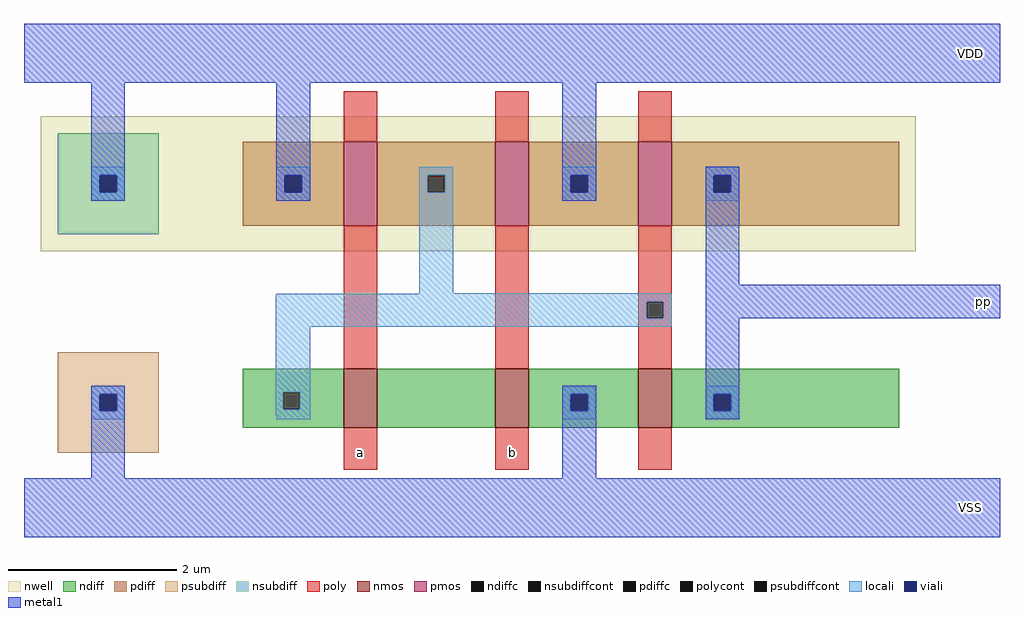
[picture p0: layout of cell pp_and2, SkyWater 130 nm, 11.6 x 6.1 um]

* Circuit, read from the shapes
.subckt pp_and2 VDD VSS a b pp
XM1 n1 a n2 VSS sky130_fd_pr__nfet_01v8 w=0.7 l=0.4
XM2 VSS b n1 VSS sky130_fd_pr__nfet_01v8 w=0.7 l=0.4
XM3 pp n2 VSS VSS sky130_fd_pr__nfet_01v8 w=0.7 l=0.4
XM4 n2 a VDD VDD sky130_fd_pr__pfet_01v8 w=1 l=0.4
XM5 VDD b n2 VDD sky130_fd_pr__pfet_01v8 w=1 l=0.4
XM6 pp n2 VDD VDD sky130_fd_pr__pfet_01v8 w=1 l=0.4
.ends

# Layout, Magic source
magic
tech sky130A
<< nwell >>
rect -280 30 760 190
<< nmos >>
rect 80 -180 120 -110
rect 260 -180 300 -110
rect 430 -180 470 -110
<< pmos >>
rect 80 60 120 160
rect 260 60 300 160
rect 430 60 470 160
<< ndiff >>
rect -40 -138 80 -110
rect -40 -158 8 -138
rect 28 -158 80 -138
rect -40 -180 80 -158
rect 120 -180 260 -110
rect 300 -140 430 -110
rect 300 -160 350 -140
rect 370 -160 430 -140
rect 300 -180 430 -160
rect 470 -140 740 -110
rect 470 -160 520 -140
rect 540 -160 740 -140
rect 470 -180 740 -160
<< pdiff >>
rect -40 120 80 160
rect -40 100 10 120
rect 30 100 80 120
rect -40 60 80 100
rect 120 120 260 160
rect 120 100 180 120
rect 200 100 260 120
rect 120 60 260 100
rect 300 120 430 160
rect 300 100 350 120
rect 370 100 430 120
rect 300 60 430 100
rect 470 120 740 160
rect 470 100 520 120
rect 540 100 740 120
rect 470 60 740 100
<< ndiffc >>
rect 8 -158 28 -138
rect 350 -160 370 -140
rect 520 -160 540 -140
<< pdiffc >>
rect 10 100 30 120
rect 180 100 200 120
rect 350 100 370 120
rect 520 100 540 120
<< psubdiff >>
rect -260 -140 -140 -90
rect -260 -160 -210 -140
rect -190 -160 -140 -140
rect -260 -210 -140 -160
<< nsubdiff >>
rect -260 120 -140 170
rect -260 100 -210 120
rect -190 100 -140 120
rect -260 50 -140 100
<< psubdiffcont >>
rect -210 -160 -190 -140
<< nsubdiffcont >>
rect -210 100 -190 120
<< poly >>
rect 80 160 120 220
rect 260 160 300 220
rect 430 160 470 220
rect 80 -110 120 60
rect 260 -110 300 60
rect 430 -30 470 60
rect 430 -50 440 -30
rect 460 -50 470 -30
rect 430 -110 470 -50
rect 80 -230 120 -180
rect 260 -230 300 -180
rect 430 -230 470 -180
<< polycont >>
rect 440 -50 460 -30
<< locali >>
rect -220 120 -180 130
rect -220 100 -210 120
rect -190 100 -180 120
rect -220 90 -180 100
rect 0 120 40 130
rect 0 100 10 120
rect 30 100 40 120
rect 0 90 40 100
rect 170 120 210 130
rect 170 100 180 120
rect 200 100 210 120
rect 170 -20 210 100
rect 340 120 380 130
rect 340 100 350 120
rect 370 100 380 120
rect 340 90 380 100
rect 510 120 550 130
rect 510 100 520 120
rect 540 100 550 120
rect 510 90 550 100
rect 170 -21 470 -20
rect 0 -22 470 -21
rect -1 -30 470 -22
rect -1 -50 440 -30
rect 460 -50 470 -30
rect -1 -60 470 -50
rect -220 -140 -180 -130
rect -220 -160 -210 -140
rect -190 -160 -180 -140
rect -220 -170 -180 -160
rect -1 -138 40 -60
rect -1 -158 8 -138
rect 28 -158 40 -138
rect -1 -165 40 -158
rect 0 -170 40 -165
rect 340 -140 380 -130
rect 340 -160 350 -140
rect 370 -160 380 -140
rect 340 -170 380 -160
rect 510 -140 550 -130
rect 510 -160 520 -140
rect 540 -160 550 -140
rect 510 -170 550 -160
<< viali >>
rect -210 100 -190 120
rect 10 100 30 120
rect 350 100 370 120
rect 520 100 540 120
rect -210 -160 -190 -140
rect 350 -160 370 -140
rect 520 -160 540 -140
<< metal1 >>
rect -300 230 860 300
rect -220 120 -180 230
rect -220 100 -210 120
rect -190 100 -180 120
rect -220 90 -180 100
rect 0 120 40 230
rect 0 100 10 120
rect 30 100 40 120
rect 0 90 40 100
rect 340 120 380 230
rect 340 100 350 120
rect 370 100 380 120
rect 340 90 380 100
rect 510 120 550 130
rect 510 100 520 120
rect 540 100 550 120
rect 510 -10 550 100
rect 510 -50 860 -10
rect -220 -140 -180 -130
rect -220 -160 -210 -140
rect -190 -160 -180 -140
rect -220 -240 -180 -160
rect 340 -140 380 -130
rect 340 -160 350 -140
rect 370 -160 380 -140
rect 340 -240 380 -160
rect 510 -140 550 -50
rect 510 -160 520 -140
rect 540 -160 550 -140
rect 510 -170 550 -160
rect -300 -310 860 -240
<< labels >>
flabel metal1 810 250 840 280 0 FreeSans 80 0 0 0 VDD
port 1 nsew
flabel metal1 810 -290 840 -260 0 FreeSans 80 0 0 0 VSS
port 2 nsew
flabel poly 90 -220 110 -200 0 FreeSans 80 0 0 0 a
port 3 nsew
flabel poly 270 -220 290 -200 0 FreeSans 80 0 0 0 b
port 4 nsew
flabel metal1 830 -40 850 -20 0 FreeSans 80 0 0 0 pp
port 5 nsew
<< end >>
